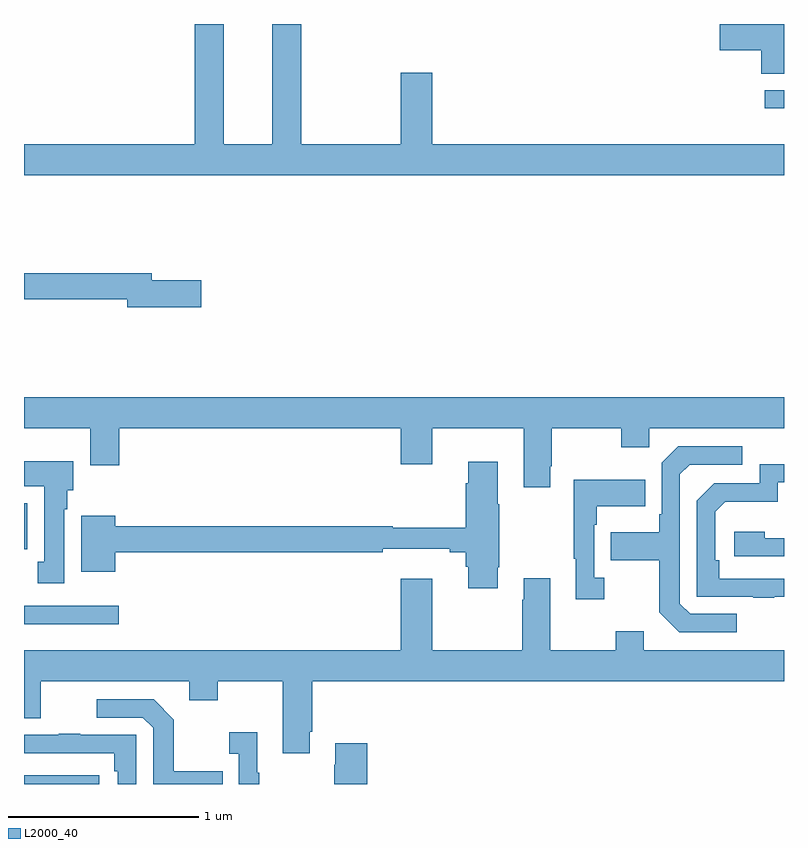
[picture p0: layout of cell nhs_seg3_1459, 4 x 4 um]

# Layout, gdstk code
import gdstk
lib = gdstk.Library(unit=1e-6, precision=1e-09)
def R(c, l, rs):  # rectangles x0, y0, x1, y1
    for r in rs: c.add(gdstk.rectangle(r[:2], r[2:], *l))
def P(c, l, *ps):  # polygons
    for p in ps: c.add(gdstk.Polygon(p, *l))
L2000_40 = (2000, 40)

nhs_seg3_1459 = lib.new_cell('nhs_seg3_1459')
R(nhs_seg3_1459, L2000_40, [(187,676.4,187.396,676.446), (187,677.24,187.498,677.337), (187,677.636,187.018,677.878), (190.899,679.956,191,680.052)])
P(nhs_seg3_1459, L2000_40, [(191,680.4),(190.662,680.4),(190.662,680.261),(190.88,680.261),(190.88,680.137),(191,680.137)],
  [(191,679.768),(189.148,679.768),(189.148,680.143),(188.984,680.143),(188.984,679.768),(188.459,679.768),(188.459,680.4),(188.306,680.4),(188.306,679.768),(188.05,679.768),(188.05,680.4),(187.898,680.4),(187.898,679.768),(187,679.768),(187,679.604),(191,679.604)],
  [(187.933,679.052),(187.672,679.052),(187.672,679.088),(187,679.088),(187,678.952),(187.544,678.952),(187.544,678.91),(187.933,678.91)],
  [(189.769,678.073),(189.777,678.073),(189.777,678.272),(190.144,678.272),(190.144,678.173),(190.29,678.173),(190.29,678.272),(191,678.272),(191,678.436),(187,678.436),(187,678.272),(187.349,678.272),(187.349,678.078),(187.502,678.078),(187.502,678.272),(188.984,678.272),(188.984,678.084),(189.148,678.084),(189.148,678.272),(189.629,678.272),(189.629,677.961),(189.769,677.961)],
  [(190.75,677.295),(190.506,677.295),(190.452,677.349),(190.452,678.03),(190.503,678.081),(190.78,678.081),(190.78,678.177),(190.443,678.177),(190.356,678.09),(190.356,677.821),(190.344,677.821),(190.344,677.725),(190.087,677.725),(190.087,677.578),(190.344,677.578),(190.344,677.305),(190.449,677.199),(190.75,677.199)],
  [(187.213,677.846),(187.228,677.846),(187.228,677.946),(187.258,677.946),(187.258,678.1),(187,678.1),(187,677.966),(187.106,677.966),(187.106,677.57),(187.073,677.57),(187.073,677.457),(187.213,677.457)],
  [(189.493,677.542),(189.501,677.542),(189.501,677.873),(189.493,677.873),(189.493,678.097),(189.338,678.097),(189.338,677.984),(189.326,677.984),(189.326,677.749),(188.942,677.749),(188.942,677.756),(187.48,677.756),(187.48,677.812),(187.301,677.812),(187.301,677.516),(187.48,677.516),(187.48,677.62),(188.888,677.62),(188.888,677.639),(189.242,677.639),(189.242,677.62),(189.326,677.62),(189.326,677.543),(189.338,677.543),(189.338,677.43),(189.493,677.43)],
  [(190.949,677.385),(191,677.385),(191,677.481),(190.658,677.481),(190.658,677.578),(190.638,677.578),(190.638,677.832),(190.691,677.885),(190.968,677.885),(190.968,677.988),(191,677.988),(191,678.084),(190.872,678.084),(190.872,677.982),(190.632,677.982),(190.542,677.892),(190.542,677.385),(190.837,677.385),(190.837,677.38),(190.949,677.38)],
  [(190.054,677.486),(190.002,677.486),(190.002,677.765),(190.015,677.765),(190.015,677.861),(190.271,677.861),(190.271,678.001),(189.894,678.001),(189.894,677.585),(189.905,677.585),(189.905,677.373),(190.054,677.373)],
  [(191,677.694),(190.898,677.694),(190.898,677.728),(190.737,677.728),(190.737,677.598),(191,677.598)],
  [(188.503,676.675),(188.516,676.675),(188.516,676.94),(191,676.94),(191,677.104),(190.261,677.104),(190.261,677.203),(190.114,677.203),(190.114,677.104),(189.769,677.104),(189.769,677.482),(189.629,677.482),(189.629,677.369),(189.622,677.369),(189.622,677.104),(189.148,677.104),(189.148,677.479),(188.984,677.479),(188.984,677.104),(187,677.104),(187,676.746),(187.087,676.746),(187.087,676.94),(187.871,676.94),(187.871,676.841),(188.019,676.841),(188.019,676.94),(188.363,676.94),(188.363,676.563),(188.503,676.563)],
  [(188.045,676.467),(187.789,676.467),(187.789,676.739),(187.683,676.845),(187.383,676.845),(187.383,676.749),(187.626,676.749),(187.68,676.695),(187.68,676.4),(188.045,676.4)],
  [(188.239,676.459),(188.227,676.459),(188.227,676.672),(188.079,676.672),(188.079,676.559),(188.13,676.559),(188.13,676.4),(188.239,676.4)],
  [(187.59,676.659),(187.295,676.659),(187.295,676.664),(187.183,676.664),(187.183,676.659),(187,676.659),(187,676.563),(187.474,676.563),(187.474,676.466),(187.494,676.466),(187.494,676.4),(187.59,676.4)],
  [(188.807,676.615),(188.639,676.615),(188.639,676.502),(188.632,676.502),(188.632,676.4),(188.807,676.4)])

lib.write_gds('nhs_seg3_1459.gds')
